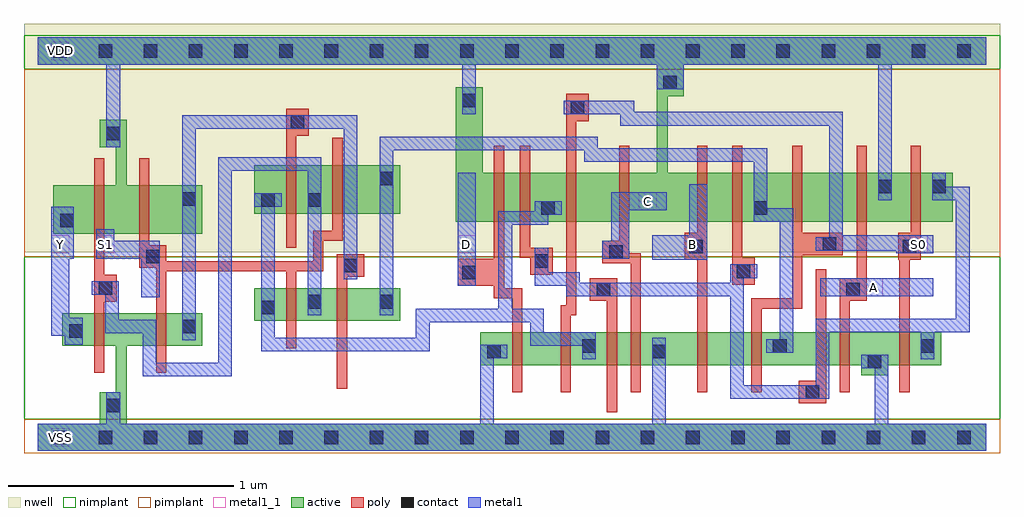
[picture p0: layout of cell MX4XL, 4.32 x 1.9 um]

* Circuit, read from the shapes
.subckt MX4XL A B C D S0 S1 VDD VSS Y
M1 VSS n1 Y VSS nfet w=0.145u l=0.045u
M2 n2 S1 VSS VSS nfet w=0.145u l=0.045u
M3 n1 S1 n3 VSS nfet w=0.145u l=0.045u
M4 n4 n2 n1 VSS nfet w=0.145u l=0.045u
M5 n5 D VSS VSS nfet w=0.145u l=0.045u
M6 n3 S0 n5 VSS nfet w=0.145u l=0.045u
M7 n6 n7 n3 VSS nfet w=0.145u l=0.045u
M8 VSS C n6 VSS nfet w=0.145u l=0.045u
M9 n8 B VSS VSS nfet w=0.145u l=0.045u
M10 n4 S0 n8 VSS nfet w=0.145u l=0.045u
M11 n9 n7 n4 VSS nfet w=0.145u l=0.045u
M12 VSS A n9 VSS nfet w=0.145u l=0.045u
M13 n7 S0 VSS VSS nfet w=0.145u l=0.045u
M14 VDD n1 Y VDD pfet w=0.215u l=0.045u
M15 n2 S1 VDD VDD pfet w=0.215u l=0.045u
M16 n1 n2 n3 VDD pfet w=0.215u l=0.045u
M17 n4 S1 n1 VDD pfet w=0.215u l=0.045u
M18 n10 D VDD VDD pfet w=0.215u l=0.045u
M19 n3 n7 n10 VDD pfet w=0.215u l=0.045u
M20 n11 S0 n3 VDD pfet w=0.215u l=0.045u
M21 VDD C n11 VDD pfet w=0.215u l=0.045u
M22 n12 B VDD VDD pfet w=0.215u l=0.045u
M23 n4 n7 n12 VDD pfet w=0.215u l=0.045u
M24 n13 S0 n4 VDD pfet w=0.215u l=0.045u
M25 VDD A n13 VDD pfet w=0.215u l=0.045u
M26 n7 S0 VDD VDD pfet w=0.215u l=0.045u
.ends

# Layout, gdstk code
import gdstk
lib = gdstk.Library(unit=1e-6, precision=5e-10)
def R(c, l, rs):  # rectangles x0, y0, x1, y1
    for r in rs: c.add(gdstk.rectangle(r[:2], r[2:], *l))
def A(c, l, x, y, w, h, nx, ny, dx, dy):  # array of equal rectangles
    R(c, l, [(x+i*dx, y+j*dy, x+i*dx+w, y+j*dy+h) for i in range(nx) for j in range(ny)])
def P(c, l, *ps):  # polygons
    for p in ps: c.add(gdstk.Polygon(p, *l))
active = (1, 0)
nwell = (2, 0)
poly = (3, 0)
nimplant = (4, 0)
pimplant = (5, 0)
contact = (6, 0)
metal1 = (7, 0)
metal1_1 = (7, 1)

mx4xl = lib.new_cell('MX4XL')
R(mx4xl, active, [(0.96,0.515,1.605,0.66), (0.96,0.99,1.605,1.205)])
P(mx4xl, active, [(0,1.77),(4.2,1.77),(4.2,1.65),(2.86,1.65),(2.86,1.51),(2.79,1.51),(2.79,1.17),(4.05,1.17),(4.05,0.955),(1.85,0.955),(1.85,1.55),(1.97,1.55),(1.97,1.17),(2.74,1.17),(2.74,1.65),(0,1.65)],
  [(0.275,1.405),(0.395,1.405),(0.395,1.115),(0.73,1.115),(0.73,0.9),(0.07,0.9),(0.07,1.115),(0.345,1.115),(0.345,1.285),(0.275,1.285)],
  [(0.11,0.55),(0.73,0.55),(0.73,0.405),(0.395,0.405),(0.395,0.06),(4.2,0.06),(4.2,-0.06),(0,-0.06),(0,0.06),(0.275,0.06),(0.275,0.2),(0.345,0.2),(0.345,0.405),(0.11,0.405)],
  [(1.96,0.465),(4,0.465),(4,0.32),(3.765,0.32),(3.765,0.275),(3.645,0.275),(3.645,0.32),(1.96,0.32)])
R(mx4xl, nwell, [(-0.06,0.82,4.26,1.83)])
P(mx4xl, poly, [(0.25,1.235),(0.295,1.235),(0.295,0.72),(0.35,0.72),(0.35,0.6),(0.295,0.6),(0.295,0.285),(0.25,0.285)],
  [(1.1,1.455),(1.2,1.455),(1.2,1.335),(1.145,1.335),(1.145,0.84),(1.1,0.84)],
  [(2.34,1.52),(2.44,1.52),(2.44,1.4),(2.385,1.4),(2.385,0.54),(2.36,0.54),(2.36,0.2),(2.315,0.2),(2.315,0.585),(2.34,0.585)],
  [(0.45,1.235),(0.495,1.235),(0.495,0.85),(0.57,0.85),(0.57,0.78),(1.22,0.78),(1.22,0.915),(1.305,0.915),(1.305,1.325),(1.35,1.325),(1.35,0.87),(1.265,0.87),(1.265,0.735),(1.145,0.735),(1.145,0.395),(1.1,0.395),(1.1,0.735),(0.57,0.735),(0.57,0.285),(0.525,0.285),(0.525,0.75),(0.45,0.75)],
  [(2.02,1.29),(2.065,1.29),(2.065,0.66),(2.145,0.66),(2.145,0.2),(2.1,0.2),(2.1,0.615),(2.02,0.615),(2.02,0.67),(1.86,0.67),(1.86,0.79),(2.02,0.79)],
  [(2.135,1.29),(2.18,1.29),(2.18,0.84),(2.28,0.84),(2.28,0.72),(2.18,0.72),(2.18,0.795),(2.135,0.795)],
  [(2.575,1.29),(2.62,1.29),(2.62,0.815),(2.67,0.815),(2.67,0.2),(2.625,0.2),(2.625,0.77),(2.5,0.77),(2.5,0.87),(2.575,0.87)],
  [(2.92,1.29),(2.965,1.29),(2.965,0.2),(2.92,0.2),(2.92,0.785),(2.865,0.785),(2.865,0.905),(2.92,0.905)],
  [(3.075,1.29),(3.12,1.29),(3.12,0.795),(3.175,0.795),(3.175,0.675),(3.075,0.675)],
  [(3.34,1.29),(3.385,1.29),(3.385,0.905),(3.565,0.905),(3.565,0.805),(3.385,0.805),(3.385,0.57),(3.205,0.57),(3.205,0.2),(3.16,0.2),(3.16,0.615),(3.34,0.615)],
  [(3.625,1.29),(3.67,1.29),(3.67,0.605),(3.595,0.605),(3.595,0.2),(3.55,0.2),(3.55,0.705),(3.625,0.705)],
  [(3.865,1.29),(3.91,1.29),(3.91,0.785),(3.86,0.785),(3.86,0.2),(3.815,0.2),(3.815,0.785),(3.81,0.785),(3.81,0.905),(3.865,0.905)],
  [(1.325,0.81),(1.445,0.81),(1.445,0.71),(1.37,0.71),(1.37,0.215),(1.325,0.215)],
  [(2.445,0.705),(2.565,0.705),(2.565,0.11),(2.52,0.11),(2.52,0.605),(2.445,0.605)],
  [(3.445,0.745),(3.49,0.745),(3.49,0.15),(3.37,0.15),(3.37,0.25),(3.445,0.25)])
R(mx4xl, nimplant, [(-0.06,0.08,4.26,0.8), (-0.06,1.63,4.26,1.78)])
R(mx4xl, pimplant, [(-0.06,-0.07,4.26,0.08), (-0.06,0.8,4.26,1.63)])
A(mx4xl, contact, 0.07, -0.03, 0.06, 0.06, 21, 2, 0.2, 1.71)
R(mx4xl, contact, [(0.305,0.11,0.365,0.17), (3.4,0.17,3.46,0.23), (3.675,0.305,3.735,0.365), (1.99,0.35,2.05,0.41), (2.72,0.35,2.78,0.41), (2.41,0.375,2.47,0.435), (3.255,0.375,3.315,0.435), (3.91,0.375,3.97,0.435), (0.14,0.44,0.2,0.5), (0.64,0.46,0.7,0.52), (0.99,0.545,1.05,0.605), (1.195,0.57,1.255,0.63), (1.515,0.57,1.575,0.63), (2.475,0.625,2.535,0.685), (3.58,0.625,3.64,0.685), (0.27,0.63,0.33,0.69), (1.88,0.7,1.94,0.76), (3.095,0.705,3.155,0.765), (1.355,0.73,1.415,0.79), (2.2,0.75,2.26,0.81), (0.48,0.77,0.54,0.83), (2.53,0.79,2.59,0.85), (2.885,0.815,2.945,0.875), (3.83,0.815,3.89,0.875), (3.475,0.825,3.535,0.885), (0.1,0.93,0.16,0.99), (2.23,0.985,2.29,1.045), (3.17,0.985,3.23,1.045), (0.99,1.02,1.05,1.08), (1.195,1.02,1.255,1.08), (0.64,1.025,0.7,1.085), (3.72,1.08,3.78,1.14), (3.96,1.08,4.02,1.14), (1.515,1.115,1.575,1.175), (0.305,1.315,0.365,1.375), (1.12,1.365,1.18,1.425), (2.36,1.43,2.42,1.49), (1.88,1.46,1.94,1.52), (2.77,1.54,2.83,1.6)])
R(mx4xl, metal1, [(3.465,0.625,3.965,0.705), (1.86,0.67,1.94,1.17)])
P(mx4xl, metal1, [(0,1.77),(4.2,1.77),(4.2,1.65),(3.78,1.65),(3.78,1.05),(3.72,1.05),(3.72,1.65),(2.86,1.65),(2.86,1.54),(2.74,1.54),(2.74,1.65),(1.94,1.65),(1.94,1.43),(1.88,1.43),(1.88,1.65),(0.365,1.65),(0.365,1.285),(0.305,1.285),(0.305,1.65),(0,1.65)],
  [(0.64,1.425),(1.415,1.425),(1.415,0.7),(1.355,0.7),(1.355,1.365),(0.7,1.365),(0.7,0.43),(0.64,0.43)],
  [(0.06,1.02),(0.16,1.02),(0.16,0.79),(0.14,0.79),(0.14,0.53),(0.2,0.53),(0.2,0.41),(0.12,0.41),(0.12,0.45),(0.06,0.45)],
  [(0.26,0.92),(0.34,0.92),(0.34,0.87),(0.54,0.87),(0.54,0.62),(0.46,0.62),(0.46,0.79),(0.26,0.79)],
  [(0.8,1.24),(1.255,1.24),(1.255,0.54),(1.195,0.54),(1.195,1.18),(0.86,1.18),(0.86,0.27),(0.465,0.27),(0.465,0.46),(0.3,0.46),(0.3,0.63),(0.24,0.63),(0.24,0.69),(0.36,0.69),(0.36,0.52),(0.525,0.52),(0.525,0.33),(0.8,0.33)],
  [(0.96,1.08),(1.08,1.08),(1.08,1.02),(1.05,1.02),(1.05,0.44),(1.675,0.44),(1.675,0.57),(2.04,0.57),(2.04,1),(2.2,1),(2.2,1.045),(2.32,1.045),(2.32,0.985),(2.26,0.985),(2.26,0.94),(2.1,0.94),(2.1,0.57),(2.24,0.57),(2.24,0.465),(2.47,0.465),(2.47,0.345),(2.41,0.345),(2.41,0.405),(2.18,0.405),(2.18,0.51),(1.735,0.51),(1.735,0.38),(0.99,0.38),(0.99,1.02),(0.96,1.02)],
  [(2.33,1.49),(2.64,1.49),(2.64,1.44),(3.565,1.44),(3.565,0.895),(3.965,0.895),(3.965,0.815),(3.8,0.815),(3.8,0.825),(3.445,0.825),(3.445,0.885),(3.505,0.885),(3.505,1.38),(2.58,1.38),(2.58,1.43),(2.33,1.43)],
  [(1.515,1.33),(2.48,1.33),(2.48,1.28),(3.23,1.28),(3.23,1.015),(3.345,1.015),(3.345,0.375),(3.225,0.375),(3.225,0.435),(3.285,0.435),(3.285,0.955),(3.17,0.955),(3.17,1.22),(2.42,1.22),(2.42,1.27),(1.575,1.27),(1.575,0.54),(1.515,0.54)],
  [(2.54,1.085),(2.785,1.085),(2.785,1.005),(2.62,1.005),(2.62,0.79),(2.5,0.79),(2.5,0.87),(2.54,0.87)],
  [(3.96,1.17),(4.02,1.17),(4.02,1.11),(4.125,1.11),(4.125,0.465),(3.97,0.465),(3.97,0.345),(3.91,0.345),(3.91,0.465),(3.505,0.465),(3.505,0.17),(3.065,0.17),(3.065,0.625),(2.34,0.625),(2.34,0.67),(2.2,0.67),(2.2,0.84),(2.26,0.84),(2.26,0.73),(2.4,0.73),(2.4,0.685),(3.065,0.685),(3.065,0.765),(3.185,0.765),(3.185,0.705),(3.125,0.705),(3.125,0.23),(3.445,0.23),(3.445,0.525),(4.065,0.525),(4.065,1.05),(3.96,1.05)],
  [(2.885,1.12),(2.965,1.12),(2.965,0.785),(2.72,0.785),(2.72,0.895),(2.885,0.895)],
  [(1.96,0.41),(2.08,0.41),(2.08,0.35),(2.02,0.35),(2.02,0.06),(2.72,0.06),(2.72,0.44),(2.78,0.44),(2.78,0.06),(3.705,0.06),(3.705,0.305),(3.645,0.305),(3.645,0.365),(3.765,0.365),(3.765,0.06),(4.2,0.06),(4.2,-0.06),(0,-0.06),(0,0.06),(0.305,0.06),(0.305,0.2),(0.365,0.2),(0.365,0.06),(1.96,0.06)])
A(mx4xl, metal1_1, 0.06, -0.04, 0.08, 0.08, 1, 3, 0, 0.855)
A(mx4xl, metal1_1, 1.86, 0.815, 0.08, 0.08, 3, 1, 1, 0)
R(mx4xl, metal1_1, [(3.66,0.625,3.74,0.705), (0.26,0.815,0.34,0.895), (2.66,1.005,2.74,1.085)])
mx4xl.add(gdstk.Label('Y', (0.1,0.855), layer=7, texttype=1))
mx4xl.add(gdstk.Label('S0', (3.9,0.855), layer=7, texttype=1))
mx4xl.add(gdstk.Label('A', (3.7,0.665), layer=7, texttype=1))
mx4xl.add(gdstk.Label('B', (2.9,0.855), layer=7, texttype=1))
mx4xl.add(gdstk.Label('C', (2.7,1.045), layer=7, texttype=1))
mx4xl.add(gdstk.Label('D', (1.9,0.855), layer=7, texttype=1))
mx4xl.add(gdstk.Label('S1', (0.3,0.855), layer=7, texttype=1))
mx4xl.add(gdstk.Label('VDD', (0.1,1.71), layer=7, texttype=1))
mx4xl.add(gdstk.Label('VSS', (0.1,0), layer=7, texttype=1))
mx4xl.add(gdstk.Label('MX4XL', (0,0), layer=63, texttype=0))

lib.write_gds('MX4XL.gds')
